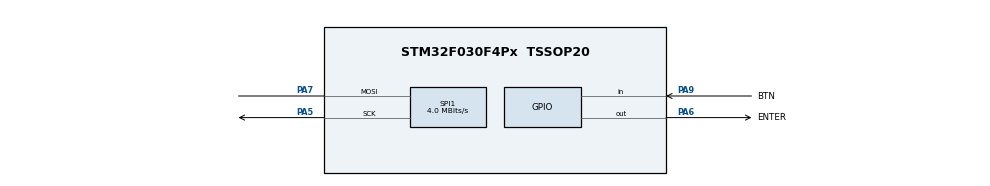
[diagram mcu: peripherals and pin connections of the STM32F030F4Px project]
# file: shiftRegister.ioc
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Mcu.Family=STM32F0
PA7.Mode=Simplex_Bidirectional_Master
SPI1.VirtualType=VM_MASTER
PA9.GPIO_Label=BTN
VP_RTC_VS_RTC_Activate.Mode=RTC_Enabled
PA6.GPIO_Label=ENTER
RCC.SYSCLKSource=RCC_SYSCLKSOURCE_HSE
ProjectManager.StackSize=0x400
PA13.Signal=SYS_SWDIO
RTC.SynchPrediv=2499
ProjectManager.TargetToolchain=MDK-ARM V5.27
SPI1.Direction=SPI_DIRECTION_1LINE
PA9.Signal=GPIO_Input
SPI1.CalculateBaudRate=4.0 MBits/s
PF0-OSC_IN.Mode=HSE-External-Oscillator
PA5.Signal=SPI1_SCK
board=custom
RCC.RTCClockSelection=RCC_RTCCLKSOURCE_HSE_DIV32
SPI1.Mode=SPI_MODE_MASTER
PA14.Mode=Serial_Wire
SPI1.DataSize=SPI_DATASIZE_8BIT
RTC.AsynchPrediv=99
PA13.Mode=Serial_Wire
Mcu.Name=STM32F030F4Px
Mcu.Package=TSSOP20
PA6.Signal=GPIO_Output
PA14.Signal=SYS_SWCLK
ProjectManager.HeapSize=0x200
PF0-OSC_IN.Signal=RCC_OSC_IN
PF1-OSC_OUT.Mode=HSE-External-Oscillator
PF1-OSC_OUT.Signal=RCC_OSC_OUT
PA5.Mode=Simplex_Bidirectional_Master
PA7.Signal=SPI1_MOSI

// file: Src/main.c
/* USER CODE BEGIN Header */
/**
  ******************************************************************************
  * @file           : main.c
  * @brief          : Main program body
  ******************************************************************************
  * @attention
  *
  * <h2><center>&copy; Copyright (c) 2020 STMicroelectronics.
  * All rights reserved.</center></h2>
  *
  * This software component is licensed by ST under BSD 3-Clause license,
  * the "License"; You may not use this file except in compliance with the
  * License. You may obtain a copy of the License at:
  *                        opensource.org/licenses/BSD-3-Clause
  *
  ******************************************************************************
  */
/* USER CODE END Header */

#include "main.h"

/* USER CODE BEGIN Includes */
#include "74HC595.h"
/* USER CODE END Includes */

/* USER CODE BEGIN PD */
enum
{
	NULL_SET,
	SECOND_SET,
	MINUTE_SET,
	HOUR_SET
};
enum
{
	NULL_CLICK,
	SHORT_CLICK,
	LONG_CLICK
};
/* USER CODE END PD */

/* USER CODE BEGIN PV */
uint8_t btn_status = 0;
uint16_t push_tick = 0;
uint8_t bounce_tick = 0;
//uint8_t cmd_num = 0;
uint16_t update_tick = 0;
uint8_t cmd_num = 0;
uint8_t click = NULL_CLICK;
/* USER CODE END PV */

void SystemClock_Config(void);
static void MX_GPIO_Init(void);
static void MX_SPI1_Init(void);
static void MX_RTC_Init(void);
/* USER CODE BEGIN PFP */
void handle_button(void);
void service_blink_disp(void);
/* USER CODE END PFP */

/* USER CODE BEGIN 0 */
	uint8_t h = 0;
	uint8_t m = 0;
	uint8_t s = 0;

	uint32_t tmp_h = 0;
	uint32_t tmp_m = 0;
	uint32_t tmp_s = 0;
/* USER CODE END 0 */

int main(void)
{

  /* MCU Configuration--------------------------------------------------------*/

  /* Reset of all peripherals, Initializes the Flash interface and the Systick. */

  LL_APB1_GRP2_EnableClock(LL_APB1_GRP2_PERIPH_SYSCFG);
  LL_APB1_GRP1_EnableClock(LL_APB1_GRP1_PERIPH_PWR);

  /* System interrupt init*/

  /* Configure the system clock */
  SystemClock_Config();

  /* Initialize all configured peripherals */
  MX_GPIO_Init();
  MX_SPI1_Init();
  MX_RTC_Init();
  /* USER CODE BEGIN 2 */
	LL_SYSTICK_EnableIT();
	LL_RTC_EnableInitMode(RTC);

	bin_disp_init();

//	LL_RTC_DisableWriteProtection(RTC);
//	LL_RTC_EnterInitMode(RTC);
//	LL_RTC_TIME_Config(RTC, LL_RTC_HOURFORMAT_24HOUR, 0x1, 0x1, 0x1);
//	LL_RTC_DisableInitMode(RTC);
//	LL_RTC_EnableWriteProtection(RTC);

  /* USER CODE END 2 */

  /* Infinite loop */
  /* USER CODE BEGIN WHILE */

  while (1)
  {

		if(!update_tick)
		{
			h = LL_RTC_TIME_GetHour(RTC);
			m = LL_RTC_TIME_GetMinute(RTC);
			s = LL_RTC_TIME_GetSecond(RTC);

			h = (h & 0xF) + ((h & 0xF0) >> 4)*10; //bcd to dec
			m = (m & 0xF) + ((m & 0xF0) >> 4)*10;
			s = (s & 0xF) + ((s & 0xF0) >> 4)*10;
			bin_disp_write(s, m, h);
			update_tick = 300;
		}

		handle_button();

		if(click == LONG_CLICK)
		{
			cmd_num = SECOND_SET;
			click = NULL_CLICK;
		}

		while(cmd_num)
		{
			service_blink_disp();
			handle_button();
		}
    /* USER CODE END WHILE */

  }
}

void SystemClock_Config(void)
{
  LL_FLASH_SetLatency(LL_FLASH_LATENCY_0);

  if(LL_FLASH_GetLatency() != LL_FLASH_LATENCY_0)
  {
  Error_Handler();
  }
  LL_RCC_HSE_Enable();

   /* Wait till HSE is ready */
  while(LL_RCC_HSE_IsReady() != 1)
  {

  }
  LL_PWR_EnableBkUpAccess();
  LL_RCC_ForceBackupDomainReset();
  LL_RCC_ReleaseBackupDomainReset();
  LL_RCC_SetRTCClockSource(LL_RCC_RTC_CLKSOURCE_HSE_DIV32);
  LL_RCC_EnableRTC();
  LL_RCC_SetAHBPrescaler(LL_RCC_SYSCLK_DIV_1);
  LL_RCC_SetAPB1Prescaler(LL_RCC_APB1_DIV_1);
  LL_RCC_SetSysClkSource(LL_RCC_SYS_CLKSOURCE_HSE);

   /* Wait till System clock is ready */
  while(LL_RCC_GetSysClkSource() != LL_RCC_SYS_CLKSOURCE_STATUS_HSE)
  {

  }
  LL_Init1msTick(8000000);
  LL_SYSTICK_SetClkSource(LL_SYSTICK_CLKSOURCE_HCLK);
  LL_SetSystemCoreClock(8000000);
}

static void MX_RTC_Init(void)
{

  LL_RTC_InitTypeDef RTC_InitStruct = {0};

  /* Peripheral clock enable */
  LL_RCC_EnableRTC();

  /** Initialize RTC and set the Time and Date
  */
  RTC_InitStruct.HourFormat = LL_RTC_HOURFORMAT_24HOUR;
  RTC_InitStruct.AsynchPrescaler = 99;
  RTC_InitStruct.SynchPrescaler = 2499;
  LL_RTC_Init(RTC, &RTC_InitStruct);
  LL_RTC_SetAsynchPrescaler(RTC, 99);
  LL_RTC_SetSynchPrescaler(RTC, 2499);

}

static void MX_SPI1_Init(void)
{

  LL_SPI_InitTypeDef SPI_InitStruct = {0};

  LL_GPIO_InitTypeDef GPIO_InitStruct = {0};

  /* Peripheral clock enable */
  LL_APB1_GRP2_EnableClock(LL_APB1_GRP2_PERIPH_SPI1);

  LL_AHB1_GRP1_EnableClock(LL_AHB1_GRP1_PERIPH_GPIOA);
  /**SPI1 GPIO Configuration
  PA5   ------> SPI1_SCK
  PA7   ------> SPI1_MOSI
  */
  GPIO_InitStruct.Pin = LL_GPIO_PIN_5;
  GPIO_InitStruct.Mode = LL_GPIO_MODE_ALTERNATE;
  GPIO_InitStruct.Speed = LL_GPIO_SPEED_FREQ_HIGH;
  GPIO_InitStruct.OutputType = LL_GPIO_OUTPUT_PUSHPULL;
  GPIO_InitStruct.Pull = LL_GPIO_PULL_NO;
  GPIO_InitStruct.Alternate = LL_GPIO_AF_0;
  LL_GPIO_Init(GPIOA, &GPIO_InitStruct);

  GPIO_InitStruct.Pin = LL_GPIO_PIN_7;
  GPIO_InitStruct.Mode = LL_GPIO_MODE_ALTERNATE;
  GPIO_InitStruct.Speed = LL_GPIO_SPEED_FREQ_HIGH;
  GPIO_InitStruct.OutputType = LL_GPIO_OUTPUT_PUSHPULL;
  GPIO_InitStruct.Pull = LL_GPIO_PULL_NO;
  GPIO_InitStruct.Alternate = LL_GPIO_AF_0;
  LL_GPIO_Init(GPIOA, &GPIO_InitStruct);

  /* SPI1 parameter configuration*/
  SPI_InitStruct.TransferDirection = LL_SPI_HALF_DUPLEX_TX;
  SPI_InitStruct.Mode = LL_SPI_MODE_MASTER;
  SPI_InitStruct.DataWidth = LL_SPI_DATAWIDTH_8BIT;
  SPI_InitStruct.ClockPolarity = LL_SPI_POLARITY_LOW;
  SPI_InitStruct.ClockPhase = LL_SPI_PHASE_1EDGE;
  SPI_InitStruct.NSS = LL_SPI_NSS_SOFT;
  SPI_InitStruct.BaudRate = LL_SPI_BAUDRATEPRESCALER_DIV2;
  SPI_InitStruct.BitOrder = LL_SPI_MSB_FIRST;
  SPI_InitStruct.CRCCalculation = LL_SPI_CRCCALCULATION_DISABLE;
  SPI_InitStruct.CRCPoly = 7;
  LL_SPI_Init(SPI1, &SPI_InitStruct);
  LL_SPI_SetStandard(SPI1, LL_SPI_PROTOCOL_MOTOROLA);
  LL_SPI_EnableNSSPulseMgt(SPI1);

}

static void MX_GPIO_Init(void)
{
  LL_GPIO_InitTypeDef GPIO_InitStruct = {0};

  /* GPIO Ports Clock Enable */
  LL_AHB1_GRP1_EnableClock(LL_AHB1_GRP1_PERIPH_GPIOF);
  LL_AHB1_GRP1_EnableClock(LL_AHB1_GRP1_PERIPH_GPIOA);

  /**/
  LL_GPIO_ResetOutputPin(ENTER_GPIO_Port, ENTER_Pin);

  /**/
  GPIO_InitStruct.Pin = ENTER_Pin;
  GPIO_InitStruct.Mode = LL_GPIO_MODE_OUTPUT;
  GPIO_InitStruct.Speed = LL_GPIO_SPEED_FREQ_LOW;
  GPIO_InitStruct.OutputType = LL_GPIO_OUTPUT_PUSHPULL;
  GPIO_InitStruct.Pull = LL_GPIO_PULL_NO;
  LL_GPIO_Init(ENTER_GPIO_Port, &GPIO_InitStruct);

  /**/
  GPIO_InitStruct.Pin = BTN_Pin;
  GPIO_InitStruct.Mode = LL_GPIO_MODE_INPUT;
  GPIO_InitStruct.Pull = LL_GPIO_PULL_NO;
  LL_GPIO_Init(BTN_GPIO_Port, &GPIO_InitStruct);

}

/* USER CODE BEGIN 4 */
void handle_button()
{
	if((LL_GPIO_ReadInputPort(GPIOA) & BTN_Pin) == BTN_Pin)
	{
		if(push_tick > 100) click = SHORT_CLICK;
		push_tick = 0;
	}
	else if(!push_tick) push_tick = 1;

	if(push_tick > 3000)
	{
		click = LONG_CLICK;
		push_tick = 0;
	}

	if(click == LONG_CLICK)
	{
		click = NULL_CLICK;
		if(++cmd_num > 3)
		{
			cmd_num = 0;
			LL_RTC_DisableWriteProtection(RTC);
			LL_RTC_EnterInitMode(RTC);
			LL_RTC_TIME_Config(RTC, LL_RTC_HOURFORMAT_24HOUR, ((h / 10) << 4) + h % 10, ((m / 10) << 4) + m % 10, ((s / 10) << 4) + s % 10);
			LL_RTC_DisableInitMode(RTC);
			LL_RTC_EnableWriteProtection(RTC);
		}
	}

	if(click == SHORT_CLICK)
	{
		click = NULL_CLICK;
		update_tick = 1000;
		switch(cmd_num)
		{
			case SECOND_SET:
				if(++s >= 60) s = 0;
				bin_disp_write(s, 0, 0);
				break;
			case MINUTE_SET:
				if(++m >= 60) m = 0;
				bin_disp_write(0, m, 0);
				break;
			case HOUR_SET:
				if(++h >= 24) h = 0;
				bin_disp_write(0, 0, h);
				break;
		}
	}
}

void service_blink_disp()
{
	if(update_tick == 500)
				{
					switch(cmd_num)
					{
						case SECOND_SET:
							bin_disp_write(s, 0, 0);
							break;
						case MINUTE_SET:
							bin_disp_write(0, m, 0);
							break;
						case HOUR_SET:
							bin_disp_write(0, 0, h);
							break;
					}
				}
				if(update_tick == 0)
				{
					bin_disp_write(0, 0, 0);
					update_tick = 1000;
				}
}
/* USER CODE END 4 */

void Error_Handler(void)
{
}

/************************ (C) COPYRIGHT STMicroelectronics *****END OF FILE****/
